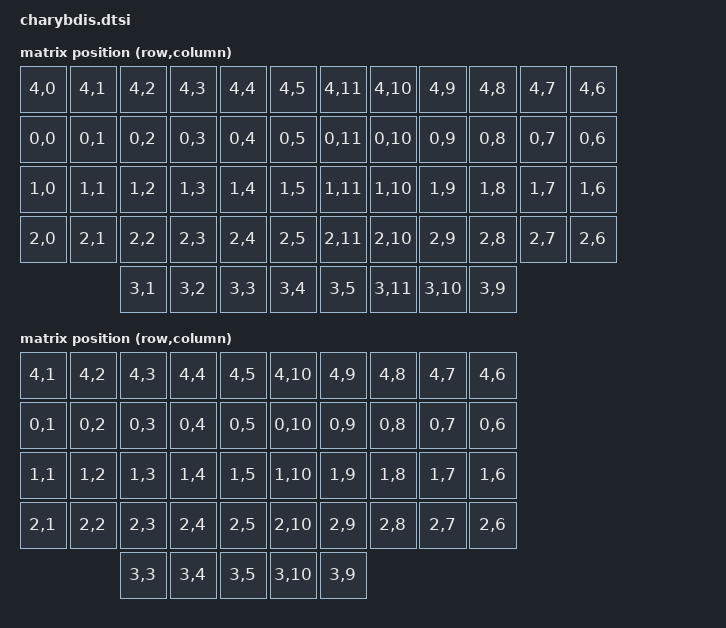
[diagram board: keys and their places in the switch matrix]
#include <dt-bindings/zmk/matrix_transform.h>
#include "../../config/charybdis-layouts.dtsi"

/*
 * Charybdis Full (4x6, 56-key) common shield definitions.
 *
 * Diode direction — single source of truth. Define CHARYBDIS_DIODE_COL2ROW
 * for col2row (this board's wiring); comment it out for row2col.
 *   col2row -> rows are inputs -> pull-down on row-gpios
 *   row2col -> cols are inputs -> pull-down on col-gpios (set in overlay)
 *
 * Row pins come from the per-side breakout map (breakout_left.dtsi /
 * breakout_right.dtsi) via MATRIX_ROW*_GPIO. Each per-side overlay MUST
 * include its breakout file BEFORE this one so the macros are defined.
 */
#define CHARYBDIS_DIODE_COL2ROW

#ifdef CHARYBDIS_DIODE_COL2ROW
  #define CHARYBDIS_DIODE_DIR  "col2row"
  #define CHARYBDIS_ROW_FLAGS  (GPIO_ACTIVE_HIGH | GPIO_PULL_DOWN)
#else
  #define CHARYBDIS_DIODE_DIR  "row2col"
  #define CHARYBDIS_ROW_FLAGS  (GPIO_ACTIVE_HIGH)
#endif

/ {
    chosen {
        zmk,kscan = &kscan0;
        zmk,physical-layout = &charybdis_physical_layout;
    };

    /* battery monitor */
    vbatt: vbatt {
	compatible = "zmk,battery-nrf-vddh";
    };

    /*
     * Charybdis (Full, 4x6) matrix transform.
     *
     * Electrical row map (see breakout_{left,right}.dtsi for pins):
     *   row 0 -> TAB main row
     *   row 1 -> ESC/home row
     *   row 2 -> LGUI/Z row
     *   row 3 -> thumb cluster
     *   row 4 -> NEW number row (sits physically above row 0)
     *
     * `map` is in keymap-text order (top-to-bottom, left-to-right), so the
     * number row (RC(4,*)) appears first even though it is electrical row 4.
     *
     * Thumb cluster: Left 5 (T1 T2 T3 / T4 T5), Right 3 (T6 T7 / T8).
     *   T1=(3,1) T2=(3,2) T3=(3,3) T4=(3,4) T5=(3,5)
     *   T6=(3,11) T7=(3,10) T8=(3,9)
     */
    default_transform: keymap_transform_0 {
        compatible = "zmk,matrix-transform";
        columns = <12>;
        rows = <5>;

        map = <
	RC(4,0) RC(4,1) RC(4,2) RC(4,3) RC(4,4) RC(4,5)  RC(4,11) RC(4,10) RC(4,9) RC(4,8) RC(4,7) RC(4,6)
	RC(0,0) RC(0,1) RC(0,2) RC(0,3) RC(0,4) RC(0,5)  RC(0,11) RC(0,10) RC(0,9) RC(0,8) RC(0,7) RC(0,6)
	RC(1,0) RC(1,1) RC(1,2) RC(1,3) RC(1,4) RC(1,5)  RC(1,11) RC(1,10) RC(1,9) RC(1,8) RC(1,7) RC(1,6)
	RC(2,0) RC(2,1) RC(2,2) RC(2,3) RC(2,4) RC(2,5)  RC(2,11) RC(2,10) RC(2,9) RC(2,8) RC(2,7) RC(2,6)
	                RC(3,1) RC(3,2) RC(3,3) RC(3,4) RC(3,5)   RC(3,11) RC(3,10) RC(3,9)
        >;
    };

    five_column_transform: keymap_transform_1 {
        compatible = "zmk,matrix-transform";
        columns = <10>;
        rows = <5>;

        map = <
	RC(4,1) RC(4,2) RC(4,3) RC(4,4) RC(4,5)  RC(4,10) RC(4,9) RC(4,8) RC(4,7) RC(4,6)
	RC(0,1) RC(0,2) RC(0,3) RC(0,4) RC(0,5)  RC(0,10) RC(0,9) RC(0,8) RC(0,7) RC(0,6)
	RC(1,1) RC(1,2) RC(1,3) RC(1,4) RC(1,5)  RC(1,10) RC(1,9) RC(1,8) RC(1,7) RC(1,6)
	RC(2,1) RC(2,2) RC(2,3) RC(2,4) RC(2,5)  RC(2,10) RC(2,9) RC(2,8) RC(2,7) RC(2,6)
	                RC(3,3) RC(3,4) RC(3,5)  RC(3,10) RC(3,9)
        >;
    };

    kscan0: kscan {
        compatible = "zmk,kscan-gpio-matrix";
        label = "KSCAN";
        wakeup-source;

        diode-direction = CHARYBDIS_DIODE_DIR;

        /* Row pins from the per-side breakout map. Edit the breakout file
           for your half, not this list. Col pins are set per-side. */
        row-gpios
            = <MATRIX_ROW0_GPIO CHARYBDIS_ROW_FLAGS>
            , <MATRIX_ROW1_GPIO CHARYBDIS_ROW_FLAGS>
            , <MATRIX_ROW2_GPIO CHARYBDIS_ROW_FLAGS>
            , <MATRIX_ROW3_GPIO CHARYBDIS_ROW_FLAGS>
            , <MATRIX_ROW4_GPIO CHARYBDIS_ROW_FLAGS>
            ;
    };
};
